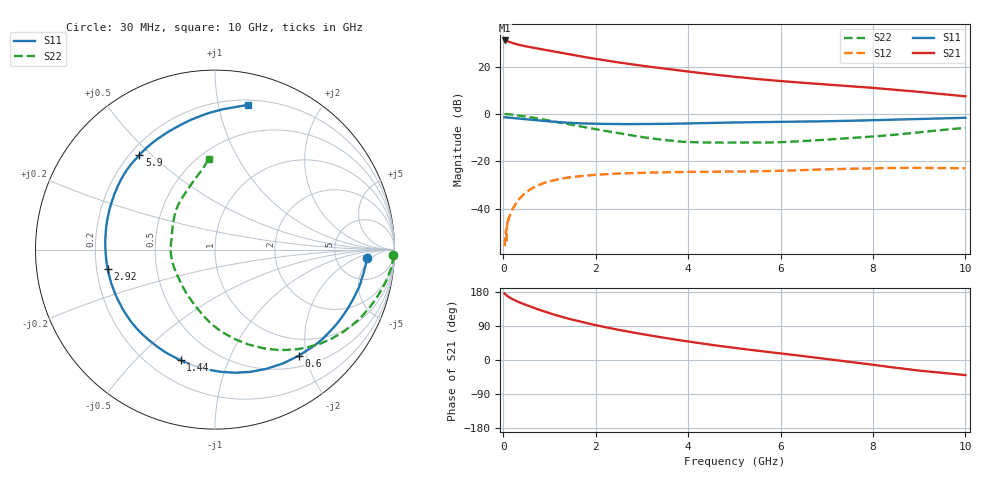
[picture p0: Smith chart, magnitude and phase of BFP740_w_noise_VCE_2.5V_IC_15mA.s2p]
! Infineon Technologies  Discrete & RF Semiconductors
! BFP740
! VCE =  2.5 V,  IC =  15 mA
! Common Emitter S-Parameters:  Jan 2016
# GHz  S  MA  R  50
!  f  S11  S21  S12  S22
! GHz  MAG  ANG  MAG  ANG  MAG  ANG  MAG  ANG
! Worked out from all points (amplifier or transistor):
!   229 points, 30 MHz to 10 GHz, reference 50 ohm
!   highest |S21| = 31.0 dB at 30 MHz (marker M1)
!   |S21| within 3 dB of that: start of sweep to 633.8 MHz
!   unconditionally stable (mu >= 1): 6.633 GHz to end of sweep
!   at 280 MHz: K = 0.19, MSG = 33.6 dB, |S12| = -37.6 dB
!   at 1.78 GHz: K = 0.39, MSG = 25.0 dB, |S12| = -26.1 dB
!   at 10 GHz: K = 1.04, MAG = 13.9 dB, |S12| = -23.0 dB
!   lowest NFmin = 0.59 dB at 450 MHz
!   S11 on the Smith chart (normalised r, x): 30 MHz: 11, -4; 600 MHz: 0.68, -1.87; 1.44 GHz: 0.32, -0.68; 2.92 GHz: 0.25, -0.08; 5.9 GHz: 0.24, +0.46; 10 GHz: 0.24, +1.23
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0.03  0.8485 -3.0  35.63 175.6  0.0016 64.2  0.993 -1.8
0.06  0.8438 -6.0  35.39 172.1  0.0035 87.1  0.992 -4.0
0.07  0.8413 -6.8  35.06 171.1  0.0021 90.0  0.9897 -4.5
0.12  0.832 -11.8  33.79 166.2  0.0062 83.2  0.9788 -7.9
0.2  0.8196 -18.9  31.56 160.3  0.0097 79.4  0.9584 -12.7
0.3  0.8021 -27.5  29.54 154.6  0.0142 75.7  0.9321 -18.1
0.4  0.7857 -35.8  27.97 149.6  0.018 71.0  0.9047 -23.2
0.6  0.7535 -51.7  25.61 140.3  0.0259 63.0  0.8475 -32.9
0.8  0.7233 -66.8  23.54 131.6  0.0323 55.7  0.7858 -41.9
0.92  0.7056 -75.2  22.4 126.7  0.0357 51.8  0.7459 -47.0
1.18  0.6718 -92.2  20.02 116.9  0.0412 44.4  0.6669 -57.0
1.44  0.6459 -107.3  17.99 108.2  0.0456 38.2  0.5969 -65.7
1.7  0.6292 -120.9  16.25 100.3  0.0486 33.3  0.5347 -73.8
2.22  0.6129 -144.4  13.44 86.2  0.0529 25.0  0.4351 -89.1
2.92  0.6078 -169.9  10.69 70.2  0.0565 17.3  0.3328 -109.0
3.4  0.6135 175.3  9.273 60.3  0.0581 12.8  0.2872 -124.6
4.2  0.6341 155.2  7.438 45.3  0.0596 7.2  0.2508 -152.4
5.1  0.6604 138.8  5.957 30.5  0.0607 2.9  0.2469 -177.8
5.9  0.6744 128.6  5.035 18.9  0.0625 0.6  0.2508 164.5
6.8  0.6945 117.6  4.309 5.8  0.0664 -3.2  0.2769 146.8
8.4  0.7539 94.8  3.291 -19.0  0.0719 -13.1  0.3571 117.5
10  0.8269 77.1  2.35 -39.8  0.071 -21.5  0.5058 94.0
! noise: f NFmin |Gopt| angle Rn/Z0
0.45  0.59  0.08  4  0.17
0.9  0.6  0.07  10  0.17
1.5  0.62  0.07  23  0.16
1.9  0.64  0.07  39  0.16
2.4  0.67  0.07  47  0.15
3.5  0.78  0.06  54  0.14
5.5  0.94  0.15  229  0.13
10  1.33  0.49  -69  0.17
